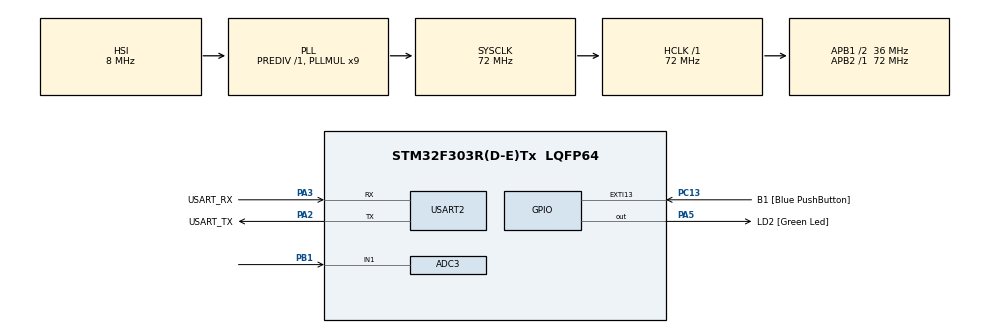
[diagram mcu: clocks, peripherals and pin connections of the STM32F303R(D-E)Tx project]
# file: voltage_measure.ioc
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ADC3.Channel-0\#ChannelRegularConversion=ADC_CHANNEL_1
ADC3.ContinuousConvMode=ENABLE
ADC3.NbrOfConversionFlag=1
ADC3.Offset-0\#ChannelRegularConversion=0
ADC3.OffsetNumber-0\#ChannelRegularConversion=ADC_OFFSET_NONE
ADC3.Rank-0\#ChannelRegularConversion=1
ADC3.SamplingTime-0\#ChannelRegularConversion=ADC_SAMPLETIME_1CYCLE_5
ADC3.SamplingTimeOPAMP-0\#ChannelRegularConversion=ADC_SAMPLETIME_61CYCLES_5
ADC3.master=1
Mcu.Family=STM32F3
Mcu.Name=STM32F303R(D-E)Tx
Mcu.Package=LQFP64
NVIC.PriorityGroup=NVIC_PRIORITYGROUP_0
PA13.GPIO_Label=TMS
PA13.Mode=Serial_Wire
PA13.Signal=SYS_JTMS-SWDIO
PA14.GPIO_Label=TCK
PA14.Mode=Serial_Wire
PA14.Signal=SYS_JTCK-SWCLK
PA2.GPIO_Label=USART_TX
PA2.GPIO_Mode=GPIO_MODE_AF_PP
PA2.GPIO_PuPd=GPIO_NOPULL
PA2.GPIO_Speed=GPIO_SPEED_FREQ_LOW
PA2.Mode=Asynchronous
PA2.Signal=USART2_TX
PA3.GPIO_Label=USART_RX
PA3.GPIO_Mode=GPIO_MODE_AF_PP
PA3.GPIO_PuPd=GPIO_NOPULL
PA3.GPIO_Speed=GPIO_SPEED_FREQ_LOW
PA3.Mode=Asynchronous
PA3.Signal=USART2_RX
PA5.GPIO_Label=LD2 [Green Led]
PA5.GPIO_Mode=GPIO_MODE_OUTPUT_PP
PA5.GPIO_PuPd=GPIO_NOPULL
PA5.GPIO_Speed=GPIO_SPEED_FREQ_LOW
PA5.Signal=GPIO_Output
PB1.Mode=IN1-Single-Ended
PB1.Signal=ADC3_IN1
PB3.GPIO_Label=SWO
PB3.Signal=SYS_JTDO-TRACESWO
PC13.GPIO_Label=B1 [Blue PushButton]
PC13.GPIO_ModeDefaultEXTI=GPIO_MODE_IT_FALLING
PC13.Signal=GPXTI13
PC14-OSC32_IN.Mode=LSE-External-Oscillator
PC14-OSC32_IN.Signal=RCC_OSC32_IN
PC15-OSC32_OUT.Mode=LSE-External-Oscillator
PC15-OSC32_OUT.Signal=RCC_OSC32_OUT
PF0-OSC_IN.Mode=HSE-External-Oscillator
PF0-OSC_IN.Signal=RCC_OSC_IN
PF1-OSC_OUT.Mode=HSE-External-Oscillator
PF1-OSC_OUT.Signal=RCC_OSC_OUT
ProjectManager.HeapSize=0x200
ProjectManager.StackSize=0x400
ProjectManager.TargetToolchain=STM32CubeIDE
RCC.AHBFreq_Value=72000000
RCC.APB1CLKDivider=RCC_HCLK_DIV2
RCC.APB1Freq_Value=36000000
RCC.APB1TimFreq_Value=72000000
RCC.APB2Freq_Value=72000000
RCC.APB2TimFreq_Value=72000000
RCC.CortexFreq_Value=72000000
RCC.HCLKFreq_Value=72000000
RCC.HSE_VALUE=8000000
RCC.HSI_VALUE=8000000
RCC.PLLM=8
RCC.PLLMUL=RCC_PLL_MUL9
RCC.PLLN=336
RCC.PLLP=RCC_PLLP_DIV4
RCC.PLLQ=7
RCC.RCC_PLLsource_Clock_Source_FROM_HSE=RCC_HSE_PREDIV_DIV2
RCC.SYSCLKFreq_VALUE=72000000
RCC.SYSCLKSourceVirtual=RCC_SYSCLKSOURCE_PLLCLK
RCC.USBFreq_Value=72000000
USART2.VirtualMode-Asynchronous=VM_ASYNC
board=NUCLEO-F303RE

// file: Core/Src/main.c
/* USER CODE BEGIN Header */
/**
  ******************************************************************************
  * @file           : main.c
  * @brief          : Main program body
  ******************************************************************************
  * @attention
  *
  * Copyright (c) 2024 STMicroelectronics.
  * All rights reserved.
  *
  * This software is licensed under terms that can be found in the LICENSE file
  * in the root directory of this software component.
  * If no LICENSE file comes with this software, it is provided AS-IS.
  *
  ******************************************************************************
  */
/* USER CODE END Header */
#include "main.h"

/* USER CODE BEGIN PD */
#define sample_points 24
/* USER CODE END PD */

ADC_HandleTypeDef hadc3;

UART_HandleTypeDef huart2;

/* USER CODE BEGIN PV */
float adc_value, volt, int_volt;
// 24 samples of real voltage and measured voltage levels to be used for linear interpolation
// voltage interval is 0-24 volts in ERC
float actual[sample_points] = {1,2,3,4,5,6,7,8,9,10,11,12,
13,14,15,16,17,18,19,20,21,22,23,24};
float measured[sample_points] = {0.130, 0.145, 0.322, 0.447, 0.520, 0.720, 0.885, 1.029,1.175, 1.335, 1.480, 1.631,
1.785, 1.940, 2.125, 2.265, 2.404, 2.581, 2.719,2.868, 3.008, 3.145, 3.204, 3.231};
/* USER CODE END PV */

void SystemClock_Config(void);
static void MX_GPIO_Init(void);
static void MX_USART2_UART_Init(void);
static void MX_ADC3_Init(void);
/* USER CODE BEGIN PFP */
float interpolation(float adc_value){
	for(int i = 0; i < sample_points - 1; i++) {
	        if(adc_value >= measured[i] && adc_value <= measured[i + 1]) {
	            // linear interpolation
	            float x1 = measured[i];
	            float x2 = measured[i + 1];
	            float y1 = actual[i];
	            float y2 = actual[i + 1];
	            return y1 + ((adc_value - x1) * (y2 - y1)) / (x2 - x1);
	        }
	    }
	// if ADC value is too low to be computable, return 1 as lowest voltage possible
	if(adc_value < measured[0])
		return actual[0];
	// if ADC value is too high, return 24 as highest voltage possible
	if(adc_value > measured[sample_points - 1])
		return actual[sample_points - 1];
	    // error status
	return -1;
}
/* USER CODE END PFP */

int main(void)
{

  /* MCU Configuration--------------------------------------------------------*/

  /* Reset of all peripherals, Initializes the Flash interface and the Systick. */
  HAL_Init();

  /* Configure the system clock */
  SystemClock_Config();

  /* Initialize all configured peripherals */
  MX_GPIO_Init();
  MX_USART2_UART_Init();
  MX_ADC3_Init();

  /* Infinite loop */
  /* USER CODE BEGIN WHILE */
  while (1)
  {
	  HAL_ADC_Start(&hadc3);
	  if(HAL_ADC_PollForConversion(&hadc3, HAL_MAX_DELAY)== HAL_OK){
		  adc_value = HAL_ADC_GetValue(&hadc3);
		  volt = (adc_value / 4095.0)*3.3; // 12-bit resolution
		  int_volt = interpolation(volt);
	  }

	  HAL_Delay(1000);
    /* USER CODE END WHILE */

  }
}

void SystemClock_Config(void)
{
  RCC_OscInitTypeDef RCC_OscInitStruct = {0};
  RCC_ClkInitTypeDef RCC_ClkInitStruct = {0};
  RCC_PeriphCLKInitTypeDef PeriphClkInit = {0};

  /** Initializes the RCC Oscillators according to the specified parameters
  * in the RCC_OscInitTypeDef structure.
  */
  RCC_OscInitStruct.OscillatorType = RCC_OSCILLATORTYPE_HSI;
  RCC_OscInitStruct.HSIState = RCC_HSI_ON;
  RCC_OscInitStruct.HSICalibrationValue = RCC_HSICALIBRATION_DEFAULT;
  RCC_OscInitStruct.PLL.PLLState = RCC_PLL_ON;
  RCC_OscInitStruct.PLL.PLLSource = RCC_PLLSOURCE_HSI;
  RCC_OscInitStruct.PLL.PLLMUL = RCC_PLL_MUL9;
  RCC_OscInitStruct.PLL.PREDIV = RCC_PREDIV_DIV1;
  if (HAL_RCC_OscConfig(&RCC_OscInitStruct) != HAL_OK)
  {
    Error_Handler();
  }

  /** Initializes the CPU, AHB and APB buses clocks
  */
  RCC_ClkInitStruct.ClockType = RCC_CLOCKTYPE_HCLK|RCC_CLOCKTYPE_SYSCLK
                              |RCC_CLOCKTYPE_PCLK1|RCC_CLOCKTYPE_PCLK2;
  RCC_ClkInitStruct.SYSCLKSource = RCC_SYSCLKSOURCE_PLLCLK;
  RCC_ClkInitStruct.AHBCLKDivider = RCC_SYSCLK_DIV1;
  RCC_ClkInitStruct.APB1CLKDivider = RCC_HCLK_DIV2;
  RCC_ClkInitStruct.APB2CLKDivider = RCC_HCLK_DIV1;

  if (HAL_RCC_ClockConfig(&RCC_ClkInitStruct, FLASH_LATENCY_2) != HAL_OK)
  {
    Error_Handler();
  }
  PeriphClkInit.PeriphClockSelection = RCC_PERIPHCLK_USART2|RCC_PERIPHCLK_ADC34;
  PeriphClkInit.Usart2ClockSelection = RCC_USART2CLKSOURCE_PCLK1;
  PeriphClkInit.Adc34ClockSelection = RCC_ADC34PLLCLK_DIV1;
  if (HAL_RCCEx_PeriphCLKConfig(&PeriphClkInit) != HAL_OK)
  {
    Error_Handler();
  }
}

static void MX_ADC3_Init(void)
{

  ADC_MultiModeTypeDef multimode = {0};
  ADC_ChannelConfTypeDef sConfig = {0};

  /** Common config
  */
  hadc3.Instance = ADC3;
  hadc3.Init.ClockPrescaler = ADC_CLOCK_ASYNC_DIV1;
  hadc3.Init.Resolution = ADC_RESOLUTION_12B;
  hadc3.Init.ScanConvMode = ADC_SCAN_DISABLE;
  hadc3.Init.ContinuousConvMode = ENABLE;
  hadc3.Init.DiscontinuousConvMode = DISABLE;
  hadc3.Init.ExternalTrigConvEdge = ADC_EXTERNALTRIGCONVEDGE_NONE;
  hadc3.Init.ExternalTrigConv = ADC_SOFTWARE_START;
  hadc3.Init.DataAlign = ADC_DATAALIGN_RIGHT;
  hadc3.Init.NbrOfConversion = 1;
  hadc3.Init.DMAContinuousRequests = DISABLE;
  hadc3.Init.EOCSelection = ADC_EOC_SINGLE_CONV;
  hadc3.Init.LowPowerAutoWait = DISABLE;
  hadc3.Init.Overrun = ADC_OVR_DATA_OVERWRITTEN;
  if (HAL_ADC_Init(&hadc3) != HAL_OK)
  {
    Error_Handler();
  }

  /** Configure the ADC multi-mode
  */
  multimode.Mode = ADC_MODE_INDEPENDENT;
  if (HAL_ADCEx_MultiModeConfigChannel(&hadc3, &multimode) != HAL_OK)
  {
    Error_Handler();
  }

  /** Configure Regular Channel
  */
  sConfig.Channel = ADC_CHANNEL_1;
  sConfig.Rank = ADC_REGULAR_RANK_1;
  sConfig.SingleDiff = ADC_SINGLE_ENDED;
  sConfig.SamplingTime = ADC_SAMPLETIME_1CYCLE_5;
  sConfig.OffsetNumber = ADC_OFFSET_NONE;
  sConfig.Offset = 0;
  if (HAL_ADC_ConfigChannel(&hadc3, &sConfig) != HAL_OK)
  {
    Error_Handler();
  }

}

static void MX_USART2_UART_Init(void)
{

  huart2.Instance = USART2;
  huart2.Init.BaudRate = 38400;
  huart2.Init.WordLength = UART_WORDLENGTH_8B;
  huart2.Init.StopBits = UART_STOPBITS_1;
  huart2.Init.Parity = UART_PARITY_NONE;
  huart2.Init.Mode = UART_MODE_TX_RX;
  huart2.Init.HwFlowCtl = UART_HWCONTROL_NONE;
  huart2.Init.OverSampling = UART_OVERSAMPLING_16;
  huart2.Init.OneBitSampling = UART_ONE_BIT_SAMPLE_DISABLE;
  huart2.AdvancedInit.AdvFeatureInit = UART_ADVFEATURE_NO_INIT;
  if (HAL_UART_Init(&huart2) != HAL_OK)
  {
    Error_Handler();
  }

}

static void MX_GPIO_Init(void)
{
  GPIO_InitTypeDef GPIO_InitStruct = {0};

  /* GPIO Ports Clock Enable */
  __HAL_RCC_GPIOC_CLK_ENABLE();
  __HAL_RCC_GPIOF_CLK_ENABLE();
  __HAL_RCC_GPIOA_CLK_ENABLE();
  __HAL_RCC_GPIOB_CLK_ENABLE();

  /*Configure GPIO pin Output Level */
  HAL_GPIO_WritePin(LD2_GPIO_Port, LD2_Pin, GPIO_PIN_RESET);

  /*Configure GPIO pin : B1_Pin */
  GPIO_InitStruct.Pin = B1_Pin;
  GPIO_InitStruct.Mode = GPIO_MODE_IT_FALLING;
  GPIO_InitStruct.Pull = GPIO_NOPULL;
  HAL_GPIO_Init(B1_GPIO_Port, &GPIO_InitStruct);

  /*Configure GPIO pin : LD2_Pin */
  GPIO_InitStruct.Pin = LD2_Pin;
  GPIO_InitStruct.Mode = GPIO_MODE_OUTPUT_PP;
  GPIO_InitStruct.Pull = GPIO_NOPULL;
  GPIO_InitStruct.Speed = GPIO_SPEED_FREQ_LOW;
  HAL_GPIO_Init(LD2_GPIO_Port, &GPIO_InitStruct);

}

void Error_Handler(void)
{
  __disable_irq();
  while (1)
  {
  }
}
